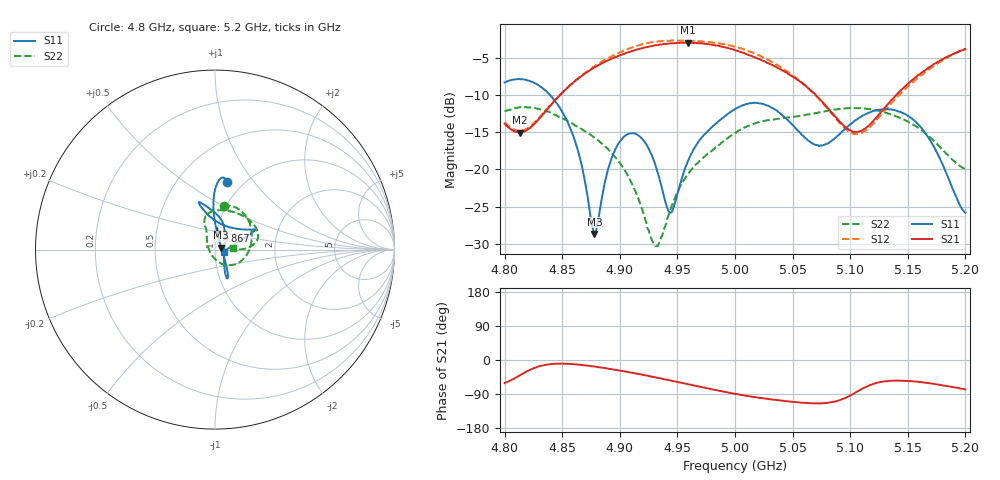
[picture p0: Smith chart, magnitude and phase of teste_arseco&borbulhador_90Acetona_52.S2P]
! Network Analyzer HP8722D
! Hewlett-Packard
! Data name: Linha & Wilkinson
! Saver's name: Rodrigo Anjos
! Comments: Teste da utilização de aquisição
! continua pelo VNA HP8722D
! Time and date: 17/4/2025 11:29
!  Frequency  S11  S21  S12  S22
# HZ  S  MA R 50
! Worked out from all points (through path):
!   401 points, 4.8 GHz to 5.2 GHz, reference 50 ohm
!   highest |S21| = -2.97 dB at 4.959 GHz (marker M1); lowest = -15.1 dB at 4.813 GHz (marker M2)
!   lowest |S11| = -28.7 dB at 4.878 GHz (marker M3), VSWR 1.08, Z = 53.6 + j1.22 ohm
!   |S11| at or under -10 dB: 4.839 GHz to end of sweep
!   |S22| runs from -30.3 to -11.6 dB; largest |S21 - S12| = 1.4
!   S11 on the Smith chart (normalised r, x): 4.8 GHz: 0.84, +0.75; 4.867 GHz: 1.00, +0.21; 5.2 GHz: 1.10, -0.03
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4.8e9  0.3836 79.8  0.2025 -60.9  0.2075 74.0  0.2456 78.7
4.813e9  0.4037 83.8  0.1765 -40.8  0.1814 92.5  0.2614 67.5
4.845e9  0.2795 91.6  0.2973 -9.7  0.2993 123.0  0.2313 28.6
4.858e9  0.1808 91.1  0.3736 -10.5  0.3748 124.1  0.2042 9.5
4.867e9  0.1056 84.7  0.4244 -13.1  0.4274 123.4  0.1864 -4.1
4.878e9  0.03688 17.9  0.484 -17.2  0.4914 121.3  0.1633 -20.7
4.892e9  0.1131 -55.8  0.5497 -23.9  0.5684 116.7  0.1309 -40.7
4.904e9  0.1668 -64.5  0.5974 -29.9  0.6287 111.8  0.1 -57.7
4.92e9  0.1584 -67.7  0.6526 -39.3  0.6948 103.0  0.05178 -90.8
4.929e9  0.1179 -63.6  0.6753 -44.6  0.7162 97.6  0.03216 -135.0
4.934e9  0.08887 -55.6  0.6871 -47.9  0.7252 94.2  0.03204 -172.6
4.944e9  0.05113 -1.3  0.7023 -54.0  0.7314 87.8  0.05381 142.2
4.959e9  0.1131 61.5  0.7101 -63.8  0.7303 78.2  0.09304 120.0
4.973e9  0.1703 78.3  0.6995 -72.9  0.721 69.2  0.1208 113.7
5e9  0.2543 103.0  0.6312 -89.3  0.668 51.7  0.1756 109.6
5.028e9  0.2682 108.9  0.519 -102.3  0.5469 36.2  0.2136 94.0
5.067e9  0.1499 80.9  0.333 -114.4  0.3312 26.2  0.2355 59.5
5.08e9  0.1489 56.9  0.2621 -113.1  0.2578 28.8  0.2468 46.6
5.104e9  0.2122 31.7  0.1785 -86.9  0.1727 57.2  0.2579 26.6
5.134e9  0.2528 26.0  0.281 -55.0  0.2685 91.0  0.2361 11.5
5.164e9  0.1802 21.5  0.4586 -59.3  0.4419 88.4  0.1783 2.7
5.2e9  0.05107 -16.8  0.6432 -77.6  0.6445 71.4  0.1004 4.4
